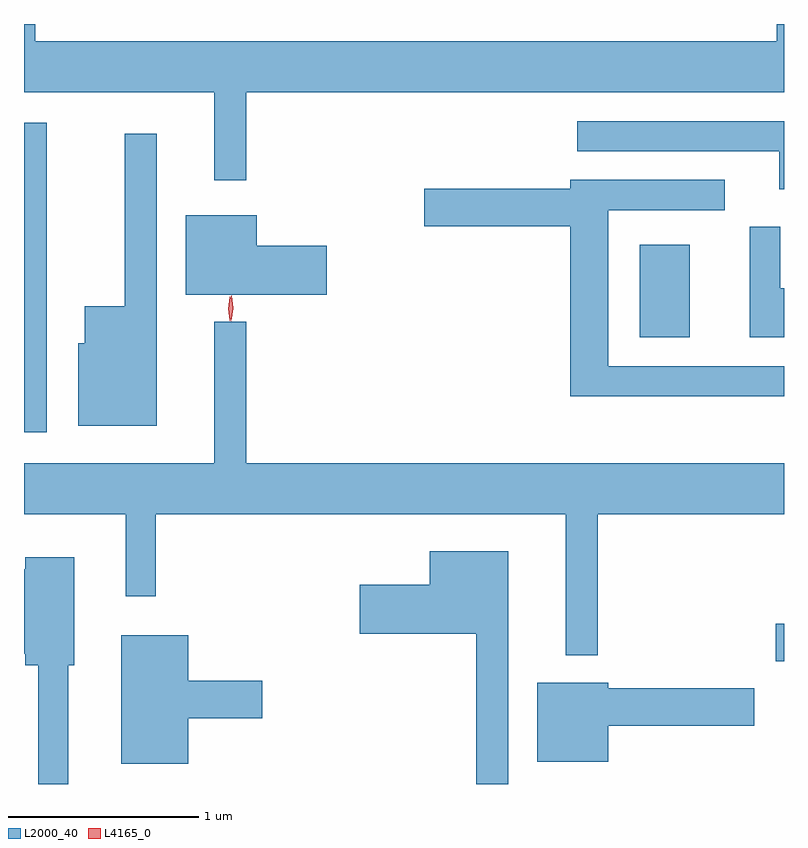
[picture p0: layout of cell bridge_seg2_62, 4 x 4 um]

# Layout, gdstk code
import gdstk
lib = gdstk.Library(unit=1e-6, precision=1e-09)
def R(c, l, rs):  # rectangles x0, y0, x1, y1
    for r in rs: c.add(gdstk.rectangle(r[:2], r[2:], *l))
def P(c, l, *ps):  # polygons
    for p in ps: c.add(gdstk.Polygon(p, *l))
L2000_40 = (2000, 40)
L4165_0 = (4165, 0)

bridge_seg2_62 = lib.new_cell('bridge_seg2_62')
R(bridge_seg2_62, L2000_40, [(1126.206,1074.181,1126.25,1074.379), (1122.25,1075.386,1122.369,1077.014), (1125.491,1075.886,1125.754,1076.374)])
P(bridge_seg2_62, L2000_40, [(1126.25,1077.535),(1126.211,1077.535),(1126.211,1077.444),(1122.309,1077.444),(1122.309,1077.535),(1122.25,1077.535),(1122.25,1077.176),(1123.251,1077.176),(1123.251,1076.713),(1123.419,1076.713),(1123.419,1077.176),(1126.25,1077.176)],
  [(1126.25,1077.024),(1125.163,1077.024),(1125.163,1076.866),(1126.226,1076.866),(1126.226,1076.666),(1126.25,1076.666)],
  [(1122.949,1076.958),(1122.781,1076.958),(1122.781,1076.049),(1122.571,1076.049),(1122.571,1075.854),(1122.536,1075.854),(1122.536,1075.421),(1122.949,1075.421)],
  [(1126.25,1075.734),(1125.324,1075.734),(1125.324,1076.556),(1125.938,1076.556),(1125.938,1076.714),(1125.126,1076.714),(1125.126,1076.669),(1124.356,1076.669),(1124.356,1076.471),(1125.126,1076.471),(1125.126,1075.576),(1126.25,1075.576)],
  [(1123.844,1076.369),(1123.474,1076.369),(1123.474,1076.529),(1123.101,1076.529),(1123.101,1076.111),(1123.844,1076.111)],
  [(1126.25,1076.144),(1126.229,1076.144),(1126.229,1076.468),(1126.071,1076.468),(1126.071,1075.886),(1126.25,1075.886)],
  [(1125.269,1074.956),(1126.25,1074.956),(1126.25,1075.224),(1123.419,1075.224),(1123.419,1075.968),(1123.251,1075.968),(1123.251,1075.224),(1122.25,1075.224),(1122.25,1074.956),(1122.786,1074.956),(1122.786,1074.523),(1122.944,1074.523),(1122.944,1074.956),(1125.101,1074.956),(1125.101,1074.213),(1125.269,1074.213)],
  [(1124.799,1074.759),(1124.386,1074.759),(1124.386,1074.584),(1124.016,1074.584),(1124.016,1074.326),(1124.631,1074.326),(1124.631,1073.535),(1124.799,1073.535)],
  [(1122.484,1074.161),(1122.514,1074.161),(1122.514,1074.729),(1122.256,1074.729),(1122.256,1074.664),(1122.25,1074.664),(1122.25,1074.221),(1122.256,1074.221),(1122.256,1074.161),(1122.326,1074.161),(1122.326,1073.535),(1122.484,1073.535)],
  [(1123.114,1073.881),(1123.504,1073.881),(1123.504,1074.079),(1123.114,1074.079),(1123.114,1074.319),(1122.761,1074.319),(1122.761,1073.641),(1123.114,1073.641)],
  [(1125.324,1073.841),(1126.094,1073.841),(1126.094,1074.039),(1125.324,1074.039),(1125.324,1074.069),(1124.951,1074.069),(1124.951,1073.651),(1125.324,1073.651)])
P(bridge_seg2_62, L4165_0, [(1123.34,1075.97),(1123.332,1076.038),(1123.342,1076.106),(1123.342,1076.106),(1123.343,1076.106),(1123.352,1076.038),(1123.341,1075.97),(1123.341,1075.97)],
  [(1123.335,1075.973),(1123.334,1075.974),(1123.325,1076.036),(1123.334,1076.1),(1123.334,1076.1),(1123.335,1076.1),(1123.345,1076.036),(1123.335,1075.974)])

lib.write_gds('bridge_seg2_62.gds')
